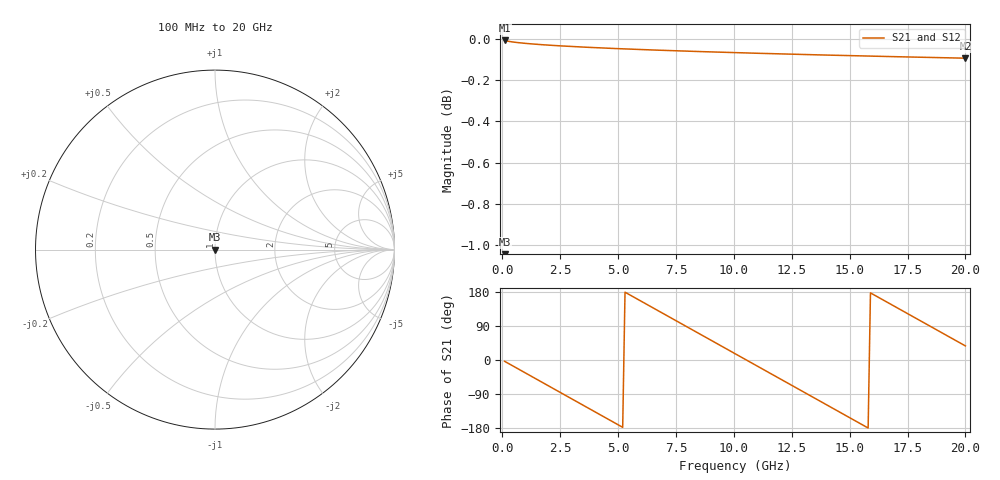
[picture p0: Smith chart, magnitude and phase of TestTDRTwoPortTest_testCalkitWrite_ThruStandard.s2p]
! File created by SignalIntegrity v1.1.13: Signal and Power Integrity Tools
! https://github.com/TeledyneLeCroy/SignalIntegrity
# MHz S MA R 50.0
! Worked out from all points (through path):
!   200 points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, 100 MHz to 20 GHz, reference 50 ohm
!   highest |S21| = -0.01 dB at 100 MHz (marker M1); lowest = -0.1 dB at 20 GHz (marker M2)
!   group delay of S21, straight-line fit = 94.8 ps
!   lowest |S11| = - dB at 100 MHz (marker M3), VSWR 1.00, Z = 50 + j0 ohm
!   |S11| at or under -10 dB: start of sweep to end of sweep
!   |S22| runs from - to - dB; largest |S21 - S12| = 0
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100  0 0.0  0.9993 -3.5  0.9993 -3.5  0 0.0
900  0 0.0  0.9977 -30.8  0.9977 -30.8  0 0.0
1900  0 0.0  0.9967 -65.0  0.9967 -65.0  0 0.0
2700  0 0.0  0.9961 -92.3  0.9961 -92.3  0 0.0
3500  0 0.0  0.9956 -119.6  0.9956 -119.6  0 0.0
4400  0 0.0  0.995 -150.4  0.995 -150.4  0 0.0
5200  0 0.0  0.9946 -177.7  0.9946 -177.7  0 0.0
6000  0 0.0  0.9942 155.0  0.9942 155.0  0 0.0
6800  0 0.0  0.9938 127.7  0.9938 127.7  0 0.0
7600  0 0.0  0.9934 100.4  0.9934 100.4  0 0.0
8400  0 0.0  0.9931 73.1  0.9931 73.1  0 0.0
10100  0 0.0  0.9925 15.1  0.9925 15.1  0 0.0
11500  0 0.0  0.9919 -32.7  0.9919 -32.7  0 0.0
12500  0 0.0  0.9916 -66.9  0.9916 -66.9  0 0.0
13400  0 0.0  0.9913 -97.6  0.9913 -97.6  0 0.0
14200  0 0.0  0.9911 -124.9  0.9911 -124.9  0 0.0
15200  0 0.0  0.9907 -159.0  0.9907 -159.0  0 0.0
16700  0 0.0  0.9903 149.8  0.9903 149.8  0 0.0
17600  0 0.0  0.99 119.1  0.99 119.1  0 0.0
18400  0 0.0  0.9898 91.8  0.9898 91.8  0 0.0
19200  0 0.0  0.9896 64.5  0.9896 64.5  0 0.0
20000  0 0.0  0.9894 37.2  0.9894 37.2  0 0.0
